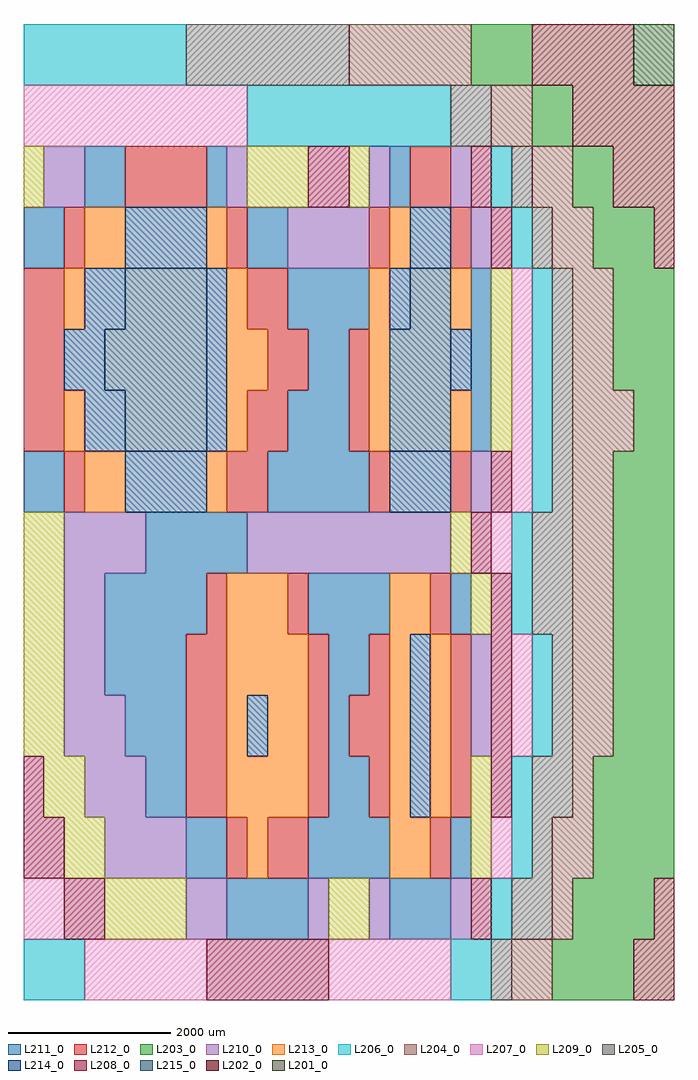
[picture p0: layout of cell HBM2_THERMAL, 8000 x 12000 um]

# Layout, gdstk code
import gdstk
lib = gdstk.Library(unit=1e-6, precision=1e-09)
def R(c, l, rs):  # rectangles x0, y0, x1, y1
    for r in rs: c.add(gdstk.rectangle(r[:2], r[2:], *l))
def A(c, l, x, y, w, h, nx, ny, dx, dy):  # array of equal rectangles
    R(c, l, [(x+i*dx, y+j*dy, x+i*dx+w, y+j*dy+h) for i in range(nx) for j in range(ny)])
L201_0 = (201, 0)
L202_0 = (202, 0)
L203_0 = (203, 0)
L204_0 = (204, 0)
L205_0 = (205, 0)
L206_0 = (206, 0)
L207_0 = (207, 0)
L208_0 = (208, 0)
L209_0 = (209, 0)
L210_0 = (210, 0)
L211_0 = (211, 0)
L212_0 = (212, 0)
L213_0 = (213, 0)
L214_0 = (214, 0)
L215_0 = (215, 0)

hbm2_thermal = lib.new_cell('HBM2_THERMAL')
R(hbm2_thermal, L201_0, [(7500,11250,7750,12000), (7750,11250,8000,12000)])
A(hbm2_thermal, L202_0, 7250, 9750, 250, 750, 3, 1, 250, 0)
A(hbm2_thermal, L202_0, 6750, 10500, 250, 750, 5, 1, 250, 0)
A(hbm2_thermal, L202_0, 6250, 11250, 250, 750, 5, 1, 250, 0)
R(hbm2_thermal, L202_0, [(7500,0,7750,750), (7750,0,8000,750), (7750,750,8000,1500), (7750,9000,8000,9750)])
A(hbm2_thermal, L203_0, 6500, 0, 250, 750, 4, 1, 250, 0)
A(hbm2_thermal, L203_0, 6750, 750, 250, 750, 4, 1, 250, 0)
A(hbm2_thermal, L203_0, 7000, 1500, 250, 750, 4, 2, 250, 750)
A(hbm2_thermal, L203_0, 7250, 3000, 250, 750, 3, 5, 250, 750)
A(hbm2_thermal, L203_0, 7250, 7500, 250, 750, 3, 2, 250, 750)
A(hbm2_thermal, L203_0, 7000, 9000, 250, 750, 3, 1, 250, 0)
A(hbm2_thermal, L203_0, 5500, 11250, 250, 750, 3, 1, 250, 0)
R(hbm2_thermal, L203_0, [(7500,6750,7750,7500), (7750,6750,8000,7500), (6750,9750,7000,10500), (7000,9750,7250,10500), (6250,10500,6500,11250), (6500,10500,6750,11250)])
A(hbm2_thermal, L204_0, 6750, 1500, 250, 750, 1, 7, 0, 750)
A(hbm2_thermal, L204_0, 7000, 3000, 250, 750, 1, 5, 0, 750)
A(hbm2_thermal, L204_0, 6750, 6750, 250, 750, 3, 1, 250, 0)
A(hbm2_thermal, L204_0, 6750, 7500, 250, 750, 1, 3, 0, 750)
A(hbm2_thermal, L204_0, 4000, 11250, 250, 750, 6, 1, 250, 0)
R(hbm2_thermal, L204_0, [(6000,0,6250,750), (6250,0,6500,750), (6500,750,6750,1500), (6500,1500,6750,2250), (7000,7500,7250,8250), (7000,8250,7250,9000), (6500,9000,6750,9750), (6250,9750,6500,10500), (6500,9750,6750,10500), (5750,10500,6000,11250), (6000,10500,6250,11250)])
A(hbm2_thermal, L205_0, 6250, 750, 250, 750, 1, 3, 0, 750)
A(hbm2_thermal, L205_0, 6500, 2250, 250, 750, 1, 9, 0, 750)
A(hbm2_thermal, L205_0, 2000, 11250, 250, 750, 8, 1, 250, 0)
R(hbm2_thermal, L205_0, [(5750,0,6000,750), (6000,750,6250,1500), (6250,4500,6500,5250), (6250,5250,6500,6000), (6250,9000,6500,9750), (6000,9750,6250,10500), (5250,10500,5500,11250), (5500,10500,5750,11250)])
A(hbm2_thermal, L206_0, 0, 0, 250, 750, 3, 1, 250, 0)
A(hbm2_thermal, L206_0, 6250, 6000, 250, 750, 1, 4, 0, 750)
A(hbm2_thermal, L206_0, 2750, 10500, 250, 750, 10, 1, 250, 0)
A(hbm2_thermal, L206_0, 0, 11250, 250, 750, 8, 1, 250, 0)
R(hbm2_thermal, L206_0, [(5250,0,5500,750), (5500,0,5750,750), (5750,750,6000,1500), (6000,1500,6250,2250), (6000,2250,6250,3000), (6250,3000,6500,3750), (6250,3750,6500,4500), (6000,4500,6250,5250), (6000,5250,6250,6000), (6000,9000,6250,9750), (5750,9750,6000,10500)])
A(hbm2_thermal, L207_0, 750, 0, 250, 750, 6, 1, 250, 0)
A(hbm2_thermal, L207_0, 3750, 0, 250, 750, 6, 1, 250, 0)
A(hbm2_thermal, L207_0, 6000, 6000, 250, 750, 1, 4, 0, 750)
A(hbm2_thermal, L207_0, 0, 10500, 250, 750, 11, 1, 250, 0)
R(hbm2_thermal, L207_0, [(0,750,250,1500), (250,750,500,1500), (5750,1500,6000,2250), (6000,3000,6250,3750), (6000,3750,6250,4500), (5750,5250,6000,6000)])
A(hbm2_thermal, L208_0, 2250, 0, 250, 750, 6, 1, 250, 0)
A(hbm2_thermal, L208_0, 5500, 750, 250, 750, 1, 3, 0, 4500)
A(hbm2_thermal, L208_0, 5750, 2250, 250, 750, 1, 4, 0, 750)
R(hbm2_thermal, L208_0, [(500,750,750,1500), (750,750,1000,1500), (0,1500,250,2250), (250,1500,500,2250), (0,2250,250,3000), (5750,6000,6000,6750), (5750,9000,6000,9750), (3500,9750,3750,10500), (3750,9750,4000,10500)])
A(hbm2_thermal, L209_0, 1000, 750, 250, 750, 4, 1, 250, 0)
A(hbm2_thermal, L209_0, 250, 2250, 250, 750, 1, 5, 0, 750)
A(hbm2_thermal, L209_0, 0, 3000, 250, 750, 1, 4, 0, 750)
A(hbm2_thermal, L209_0, 5750, 6750, 250, 750, 1, 3, 0, 750)
A(hbm2_thermal, L209_0, 2750, 9750, 250, 750, 3, 1, 250, 0)
R(hbm2_thermal, L209_0, [(3750,750,4000,1500), (4000,750,4250,1500), (500,1500,750,2250), (750,1500,1000,2250), (5500,1500,5750,2250), (500,2250,750,3000), (5500,2250,5750,3000), (5500,4500,5750,5250), (5250,5250,5500,6000), (0,9750,250,10500), (4000,9750,4250,10500)])
A(hbm2_thermal, L210_0, 1000, 1500, 250, 750, 4, 1, 250, 0)
A(hbm2_thermal, L210_0, 750, 2250, 250, 750, 3, 1, 250, 0)
A(hbm2_thermal, L210_0, 500, 3000, 250, 750, 3, 1, 250, 0)
A(hbm2_thermal, L210_0, 500, 5250, 250, 750, 4, 1, 250, 0)
A(hbm2_thermal, L210_0, 2750, 5250, 250, 750, 10, 1, 250, 0)
A(hbm2_thermal, L210_0, 3250, 9000, 250, 750, 4, 1, 250, 0)
R(hbm2_thermal, L210_0, [(2000,750,2250,1500), (2250,750,2500,1500), (3500,750,3750,1500), (4250,750,4500,1500), (5250,750,5500,1500), (5500,3000,5750,3750), (500,3750,750,4500), (750,3750,1000,4500), (5500,3750,5750,4500), (500,4500,750,5250), (750,4500,1000,5250), (5500,6000,5750,6750), (5500,9000,5750,9750), (250,9750,500,10500), (500,9750,750,10500), (2500,9750,2750,10500), (4250,9750,4500,10500), (5250,9750,5500,10500)])
A(hbm2_thermal, L211_0, 2500, 750, 250, 750, 4, 1, 250, 0)
A(hbm2_thermal, L211_0, 4500, 750, 250, 750, 3, 1, 250, 0)
A(hbm2_thermal, L211_0, 3500, 1500, 250, 750, 4, 2, 250, 3000)
A(hbm2_thermal, L211_0, 3750, 2250, 250, 750, 1, 3, 0, 750)
A(hbm2_thermal, L211_0, 1250, 3000, 250, 750, 3, 1, 250, 0)
A(hbm2_thermal, L211_0, 1000, 3750, 250, 750, 4, 1, 250, 0)
A(hbm2_thermal, L211_0, 1000, 4500, 250, 750, 5, 1, 250, 0)
A(hbm2_thermal, L211_0, 1500, 5250, 250, 750, 5, 1, 250, 0)
A(hbm2_thermal, L211_0, 3000, 6000, 250, 750, 5, 1, 250, 0)
A(hbm2_thermal, L211_0, 3250, 6750, 250, 750, 3, 1, 250, 0)
A(hbm2_thermal, L211_0, 5500, 6750, 250, 750, 1, 3, 0, 750)
A(hbm2_thermal, L211_0, 3250, 8250, 250, 750, 4, 1, 250, 0)
R(hbm2_thermal, L211_0, [(2000,1500,2250,2250), (2250,1500,2500,2250), (5250,1500,5500,2250), (1500,2250,1750,3000), (1750,2250,2000,3000), (4000,2250,4250,3000), (4000,3750,4250,4500), (5250,4500,5500,5250), (0,6000,250,6750), (250,6000,500,6750), (3500,7500,3750,8250), (3750,7500,4000,8250), (0,9000,250,9750), (250,9000,500,9750), (2750,9000,3000,9750), (3000,9000,3250,9750), (750,9750,1000,10500), (1000,9750,1250,10500), (2250,9750,2500,10500), (4500,9750,4750,10500)])
A(hbm2_thermal, L212_0, 3250, 1500, 250, 750, 1, 3, 0, 3000)
A(hbm2_thermal, L212_0, 2000, 2250, 250, 750, 1, 3, 0, 750)
A(hbm2_thermal, L212_0, 2250, 2250, 250, 750, 1, 4, 0, 750)
A(hbm2_thermal, L212_0, 3500, 2250, 250, 750, 1, 3, 0, 750)
A(hbm2_thermal, L212_0, 4250, 2250, 250, 750, 1, 3, 0, 750)
A(hbm2_thermal, L212_0, 5250, 2250, 250, 750, 1, 3, 0, 750)
A(hbm2_thermal, L212_0, 0, 6750, 250, 750, 1, 3, 0, 750)
A(hbm2_thermal, L212_0, 250, 6750, 250, 750, 1, 3, 0, 750)
A(hbm2_thermal, L212_0, 3000, 6750, 250, 750, 1, 3, 0, 750)
A(hbm2_thermal, L212_0, 1250, 9750, 250, 750, 4, 1, 250, 0)
R(hbm2_thermal, L212_0, [(2500,1500,2750,2250), (3000,1500,3250,2250), (5000,1500,5250,2250), (4000,3000,4250,3750), (5000,4500,5250,5250), (500,6000,750,6750), (2500,6000,2750,6750), (2750,6000,3000,6750), (4250,6000,4500,6750), (5250,6000,5500,6750), (2750,6750,3000,7500), (4000,6750,4250,7500), (4000,7500,4250,8250), (2750,8250,3000,9000), (500,9000,750,9750), (2500,9000,2750,9750), (4250,9000,4500,9750), (5250,9000,5500,9750), (4750,9750,5000,10500), (5000,9750,5250,10500)])
A(hbm2_thermal, L213_0, 4500, 1500, 250, 750, 1, 5, 0, 750)
A(hbm2_thermal, L213_0, 2500, 2250, 250, 750, 4, 2, 250, 1500)
A(hbm2_thermal, L213_0, 5000, 2250, 250, 750, 1, 3, 0, 750)
A(hbm2_thermal, L213_0, 2500, 4500, 250, 750, 3, 1, 250, 0)
A(hbm2_thermal, L213_0, 2500, 6750, 250, 750, 1, 3, 0, 750)
A(hbm2_thermal, L213_0, 4250, 6750, 250, 750, 1, 3, 0, 750)
R(hbm2_thermal, L213_0, [(2750,1500,3000,2250), (4750,1500,5000,2250), (2500,3000,2750,3750), (3000,3000,3250,3750), (3250,3000,3500,3750), (4750,4500,5000,5250), (750,6000,1000,6750), (1000,6000,1250,6750), (2250,6000,2500,6750), (500,6750,750,7500), (5250,6750,5500,7500), (2750,7500,3000,8250), (500,8250,750,9000), (5250,8250,5500,9000), (750,9000,1000,9750), (1000,9000,1250,9750), (2250,9000,2500,9750), (4500,9000,4750,9750)])
A(hbm2_thermal, L214_0, 4750, 2250, 250, 750, 1, 3, 0, 750)
A(hbm2_thermal, L214_0, 1250, 6000, 250, 750, 4, 2, 250, 3000)
A(hbm2_thermal, L214_0, 4500, 6000, 250, 750, 3, 1, 250, 0)
A(hbm2_thermal, L214_0, 750, 6750, 250, 750, 1, 3, 0, 750)
A(hbm2_thermal, L214_0, 2250, 6750, 250, 750, 1, 3, 0, 750)
R(hbm2_thermal, L214_0, [(2750,3000,3000,3750), (1000,6750,1250,7500), (500,7500,750,8250), (5250,7500,5500,8250), (1000,8250,1250,9000), (4500,8250,4750,9000), (4750,9000,5000,9750), (5000,9000,5250,9750)])
A(hbm2_thermal, L215_0, 1250, 6750, 250, 750, 4, 2, 250, 1500)
A(hbm2_thermal, L215_0, 4500, 6750, 250, 750, 3, 2, 250, 750)
A(hbm2_thermal, L215_0, 1000, 7500, 250, 750, 5, 1, 250, 0)
R(hbm2_thermal, L215_0, [(4750,8250,5000,9000), (5000,8250,5250,9000)])

lib.write_gds('HBM2_THERMAL.gds')
